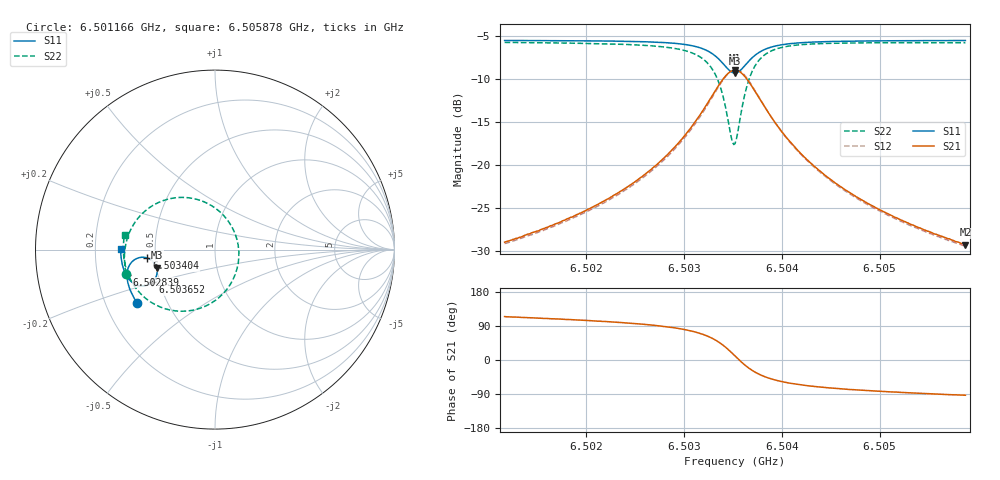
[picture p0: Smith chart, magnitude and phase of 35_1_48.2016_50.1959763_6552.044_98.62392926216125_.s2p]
#  HZ  S  RI  R  50.00
! Rohde & Schwarz Vector Network Analyzer
! Rohde-Schwarz,ZNB20-2Port,1311601062101988,3.16
! Created: UTC 3/20/2024, 11:37:37 AM
! freq[Hz]  re:S11  im:S11  re:S21  im:S21  re:S12  im:S12  re:S22  im:S22
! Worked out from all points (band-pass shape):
!   401 points, 6.501166 GHz to 6.505878 GHz, reference 50 ohm
!   highest |S21| = -9.02 dB at 6.503522 GHz (marker M1); lowest = -29.2 dB at 6.505878 GHz (marker M2)
!   |S21| within 3 dB of the highest: 6.503286 GHz to 6.503757 GHz (470.5 kHz wide, 0.00723 % of centre)
!   lowest |S11| = -9.3 dB at 6.503522 GHz (marker M3), VSWR 2.03, Z = 25 - j5.66 ohm
!   |S11| at or under -10 dB: nowhere
!   |S22| runs from -17.6 to -5.8 dB; largest |S21 - S12| = 0.012
!   S11 on the Smith chart (normalised r, x): 6.501166 GHz: 0.34, -0.27; 6.502839 GHz: 0.33, -0.12; 6.503404 GHz: 0.45, -0.05; 6.503652 GHz: 0.46, -0.20; 6.505878 GHz: 0.31, +0.00
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6.5011661e9  -0.4359 -0.295  -0.0149 0.0325  -0.013 0.0326  -0.4954 -0.1335
6.5019554e9  -0.4684 -0.2347  -0.0138 0.0514  -0.0112 0.0509  -0.5047 -0.0454
6.5023912e9  -0.483 -0.1945  -0.0103 0.072  -0.00735 0.0707  -0.499 0.0205
6.5027446e9  -0.4904 -0.1532  -0.000322 0.1032  0.00335 0.1006  -0.4762 0.097
6.5028388e9  -0.4906 -0.1397  0.00558 0.1159  0.00936 0.1128  -0.4633 0.1238
6.5030391e9  -0.4848 -0.1051  0.0308 0.1527  0.0344 0.148  -0.4108 0.1949
6.5031804e9  -0.4682 -0.0745  0.0727 0.188  0.0754 0.1818  -0.3299 0.2551
6.50331e9  -0.4303 -0.0474  0.1536 0.2143  0.154 0.2077  -0.1826 0.2909
6.5034043e9  -0.3815 -0.0454  0.249 0.196  0.2489 0.1913  -0.0171 0.2437
6.5034867e9  -0.337 -0.0767  0.3301 0.1172  0.3327 0.1129  0.1122 0.0876
6.5035221e9  -0.3258 -0.1  0.3479 0.0661  0.352 0.0603  0.1329 -0.00895
6.5035456e9  -0.3228 -0.1171  0.351 0.0296  0.3554 0.0226  0.1294 -0.0756
6.503581e9  -0.3253 -0.1424  0.3428 -0.0228  0.3467 -0.032  0.0995 -0.1686
6.5036516e9  -0.3487 -0.1812  0.2931 -0.1017  0.2931 -0.1139  -0.0179 -0.2961
6.5037459e9  -0.3913 -0.2017  0.2112 -0.1459  0.206 -0.1567  -0.1849 -0.3433
6.5038165e9  -0.4184 -0.2016  0.1615 -0.1509  0.1546 -0.1593  -0.2775 -0.3296
6.503899e9  -0.4422 -0.1943  0.1195 -0.1445  0.1118 -0.1502  -0.3513 -0.2962
6.5040757e9  -0.4737 -0.1717  0.0673 -0.1209  0.0606 -0.1232  -0.4356 -0.2217
6.5043113e9  -0.4952 -0.142  0.0358 -0.0944  0.0306 -0.0948  -0.4809 -0.1461
6.5046765e9  -0.5113 -0.1023  0.0153 -0.0687  0.0119 -0.0681  -0.5046 -0.0672
6.5051005e9  -0.5205 -0.0621  0.00542 -0.0515  0.00301 -0.0508  -0.5108 -0.00343
6.505878e9  -0.5261 0.00471  -0.00182 -0.0346  -0.00333 -0.0338  -0.504 0.0828
